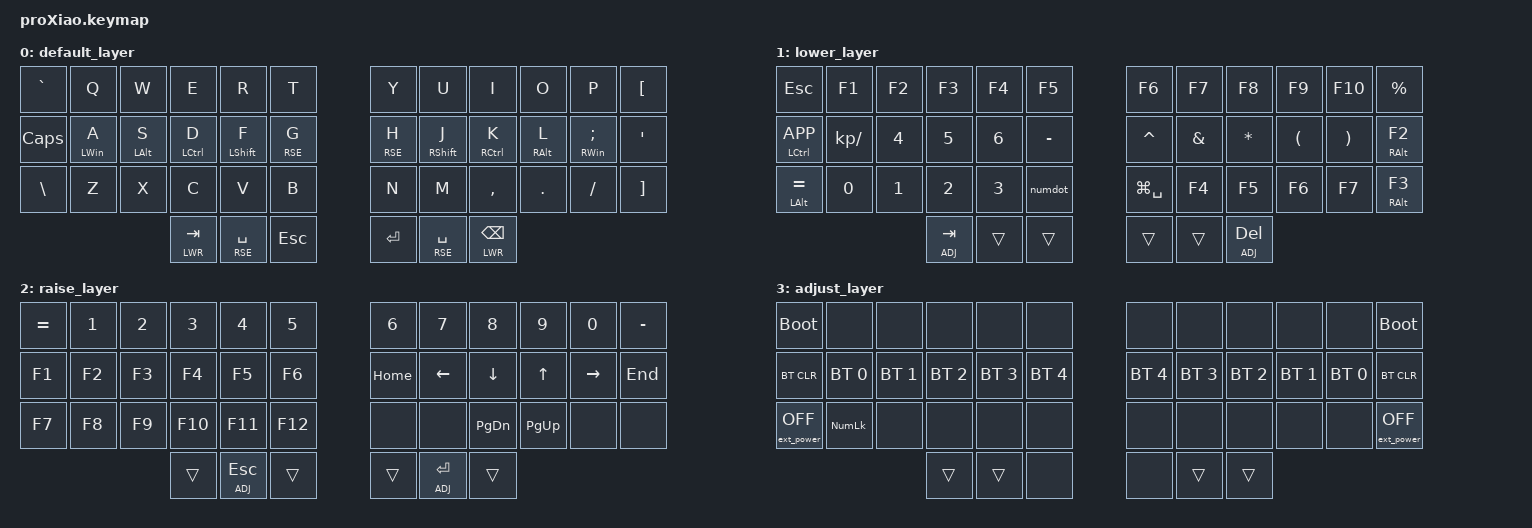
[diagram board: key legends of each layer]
/*
 * Copyright (c) 2020 The ZMK Contributors
 *
 * SPDX-License-Identifier: MIT
 */

#include <behaviors.dtsi>
#include <dt-bindings/zmk/keys.h>
#include <dt-bindings/zmk/bt.h>

#include <dt-bindings/zmk/ext_power.h>

#define DEF 0
#define LWR 1
#define RSE 2
#define ADJ 3

&lt { quick_tap_ms = <220>; };
&mt { quick_tap_ms = <220>; };

/ {
    macros {
        numdot: numdot {
            label = "ZM_numdot";
            compatible = "zmk,behavior-macro";
            #binding-cells = <0>;
            wait-ms = <40>;
            tap-ms = <40>;
            bindings
                = <&macro_press   &kp LALT>    
                , <&macro_tap     &kp KP_N4 &kp KP_N6>    
                , <&macro_release &kp LALT>
                ;
        };
        grtsgn: grtsgn {
            label = "ZM_grtsgn";
            compatible = "zmk,behavior-macro";
            #binding-cells = <0>;
            wait-ms = <40>;
            tap-ms = <40>;
            bindings
                = <&macro_press   &kp LALT>    
                , <&macro_tap     &kp KP_N6 &kp KP_N2>    
                , <&macro_release &kp LALT>
                ;
        };
    };
};
/ {
        keymap {
                compatible = "zmk,keymap";

                default_layer {
// ------------------------------------------------------------------------------------------------
//| LGUI/] |  Q  |  W  |  E  |  R  |  T  |   |  Y  |  U   |  I  |  O  |  P  | RGUI/[ | 
//| CTRL/` |  A  |  S  |  D  |  F  |  G  |   |  H  |  J   |  K  |  L  |  ;  | CTRL/' |
//| LALT/\ |  Z  |  X  |  C  |  V  |  B  |   |  N  |  M   |  ,  |  .  |  /  | RALT/- |
//                             | RSE | SPC | LWR |   | LWR | BKSP | RSE |
                        bindings = <
  &kp GRAVE &kp Q       &kp W       &kp E       &kp R       &kp T                       &kp Y           &kp U       &kp I           &kp O       &kp P           &kp LBKT
  &kp CAPS  &mt LWIN A  &mt LALT S  &mt LCTRL D &mt LSHFT F &lt RSE G                   &lt RSE H       &mt RSHFT J &mt RCTRL K     &mt RALT L  &mt RWIN SEMI   &kp SQT
  &kp BSLH  &kp Z       &kp X       &kp C       &kp V       &kp B                       &kp N           &kp M       &kp COMMA       &kp DOT     &kp FSLH        &kp RBKT
                                    &lt LWR TAB &lt RSE SPACE &kp ESC                   &kp RET     &lt RSE SPACE   &lt LWR BSPC
                        >;
                };
                lower_layer {
// -----------------------------------------------------------------------------------------
//|LGUI/CAPS |  *  |  7 |  8  |  9  |  +  |    |  !  |  @  |  #  |  $  |  %  | RGUI/F1 |
//|CTRL/MENU |  /  |  4 |  5  |  6  |  -  |    |  ^  |  &  |  *  |  (  |  )  | CTRL/F2 |
//|  LALT/=  |  0  |  1 |  4  |  3  |  .  |    |  ls |  F4 |  F5 |  F6 |  F7 | RALT/F3 |
//                      | ADJ | ___ | ___ |    | ___ | ___ | ADJ |
                        bindings = <
 &kp ESC            &kp F1          &kp F2 &kp F3   &kp F4      &kp F5                  &kp F6        &kp F7    &kp F8    &kp F9      &kp F10     &kp PRCNT   
 &mt LCTRL K_APP    &kp KP_SLASH    &kp N4 &kp N5   &kp N6      &kp MINUS               &kp CARET     &kp AMPS  &kp STAR  &kp LPAR    &kp RPAR    &mt RALT F2
 &mt LALT EQUAL     &kp N0          &kp N1 &kp N2   &kp N3      &numdot                 &kp LG(SPACE) &kp F4    &kp F5    &kp F6      &kp F7      &mt RALT F3
                                                  &lt ADJ TAB &trans &trans        &trans &trans &lt ADJ DEL
                        >;
                };
                raise_layer {
// -----------------------------------------------------------------------------------------
//| LGUI |  VOLU  |  PGUP  | PLAY | HOME | ___  |            | ___  | HOME | PLAY| PGUP | VOLU | RGUI |
//| CTRL |  VOLD  |  LEFT  |  UP  | DOWN | RGHT |            | RGHT | DOWN | UP  | LEFT | VOLD | CTRL | 
//| LALT |  MUTE  |  PGDN  |  ___ | END  | ___  |            | ___  | END  | ___ | PGDN | MUTE | RALT |
//                          | ___ | ___  | ADJ  |            | ADJ  | ___  | ___ |
                        bindings = <
&kp EQUAL   &kp N1      &kp N2      &kp N3      &kp N4      &kp N5                              &kp N6      &kp N7      &kp N8      &kp N9      &kp N0      &kp MINUS
&kp F1      &kp F2      &kp F3      &kp F4      &kp F5      &kp F6                              &kp HOME    &kp LEFT    &kp DOWN    &kp UP      &kp RIGHT   &kp END 
&kp F7      &kp F8      &kp F9      &kp F10     &kp F11     &kp F12                             &none       &none       &kp PG_DN   &kp PG_UP   &none       &none
                                                    &trans  &lt ADJ ESC &trans              &trans &lt ADJ RET &trans
                        >; 
                };
                adjust_layer {
// -----------------------------------------------------------------------------------------
//| BLDR |     |     |     |     |     |   |     |     |     |     |     | BLDR |
//| BTCLR| BT0 | BT1 | BT2 | BT3 | BT4 |   | BT4 | BT3 | BT2 | BT1 | BT0 | BTCLR|
//|pwrOFF|NUMLK|     |     |     |     |   |     |     |     |     |     |      |
//                   |     |     |     |   |     |     |     |
                        bindings = <
&bootloader           &none         &none        &none        &none        &none                            &none        &none        &none        &none        &none         &bootloader
&bt BT_CLR            &bt BT_SEL 0  &bt BT_SEL 1 &bt BT_SEL 2 &bt BT_SEL 3 &bt BT_SEL 4                     &bt BT_SEL 4 &bt BT_SEL 3 &bt BT_SEL 2 &bt BT_SEL 1 &bt BT_SEL 0  &bt BT_CLR
&ext_power EP_OFF     &kp KP_NUM    &none        &none        &none        &none                            &none        &none        &none        &none        &none         &ext_power EP_OFF 
                                                              &trans       &trans   &none                   &none       &trans       &trans
                        >;
                };
        };
};
